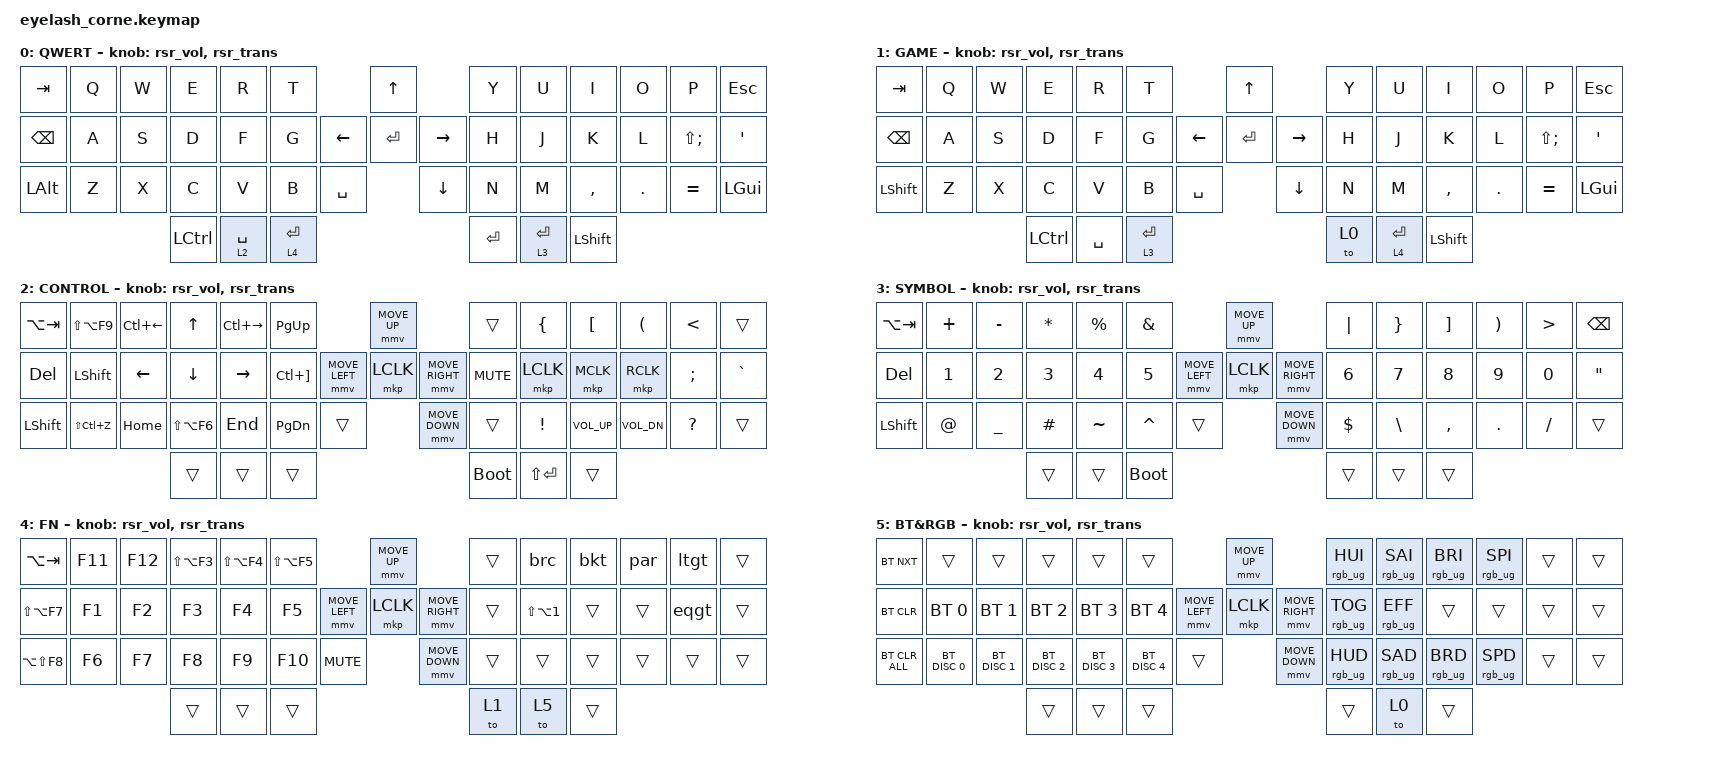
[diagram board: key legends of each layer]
#define ZMK_POINTING_DEFAULT_MOVE_VAL 1200  // 600
#define ZMK_POINTING_DEFAULT_SCRL_VAL 25   // 10

#include <input/processors.dtsi>
#include <zephyr/dt-bindings/input/input-event-codes.h>
#include <behaviors.dtsi>
#include <behaviors/runtime-sensor-rotate.dtsi>
#include <dt-bindings/zmk/bt.h>
#include <dt-bindings/zmk/keys.h>
#include <dt-bindings/zmk/outputs.h>
#include <dt-bindings/zmk/pointing.h>
#include <dt-bindings/zmk/rgb.h>

&soft_off { hold-time-ms = <2000>; };

/ {
    behaviors {
        td0: td0 {
            compatible = "zmk,behavior-tap-dance";
            display-name = "Shift/Caps Lock Tap Dance";
            #binding-cells = <0>;
            bindings = <&kp LEFT_SHIFT>, <&kp CAPS>;
        };

        rsr_vol: rsr_vol {
            compatible = "zmk,behavior-runtime-sensor-rotate";
            #sensor-binding-cells = <0>;
            tap-ms = <5>;
            cw-binding = <&kp C_VOL_UP>;
            ccw-binding = <&kp C_VOL_DN>;
        };

        rsr_trans: rsr_trans {
            compatible = "zmk,behavior-runtime-sensor-rotate";
            #sensor-binding-cells = <0>;
            tap-ms = <0>;
        };
    };

    macros {
        brc: brc {
            compatible = "zmk,behavior-macro";
            #binding-cells = <0>;
            bindings = <&kp LBRC &kp RBRC &kp LEFT>;
            label = "BRC";
        };

        bkt: bkt {
            compatible = "zmk,behavior-macro";
            #binding-cells = <0>;
            bindings = <&kp LBKT &kp RBKT &kp LEFT>;
            label = "BKT";
        };

        par: par {
            compatible = "zmk,behavior-macro";
            #binding-cells = <0>;
            bindings = <&kp LPAR &kp RPAR &kp LEFT>;
            label = "PAR";
        };

        ltgt: ltgt {
            compatible = "zmk,behavior-macro";
            #binding-cells = <0>;
            bindings = <&kp LT &kp GT &kp LEFT>;
            label = "LTGT";
        };

        eqgt: eqgt {
            compatible = "zmk,behavior-macro";
            #binding-cells = <0>;
            bindings = <&kp EQUAL &kp GT &kp LEFT>;
            label = "EQGT";
        };
    };

    keymap {
        compatible = "zmk,keymap";

        default_layer {
            display-name = "QWERT";
            bindings = <
&kp TAB   &kp Q  &kp W  &kp E      &kp R        &kp T                               &kp UP                &kp Y      &kp U        &kp I       &kp O    &kp P         &kp ESC
&kp BSPC  &kp A  &kp S  &kp D      &kp F        &kp G                     &kp LEFT  &kp ENTER  &kp RIGHT  &kp H      &kp J        &kp K       &kp L    &kp LS(SEMI)  &kp SQT
&kp LALT  &kp Z  &kp X  &kp C      &kp V        &kp B        &kp SPACE              &kp DOWN              &kp N      &kp M        &kp COMMA   &kp DOT  &kp EQUAL     &kp LGUI
                        &kp LCTRL  &lt 2 SPACE  &lt 4 ENTER                                               &kp ENTER  &lt 3 ENTER  &kp LSHIFT
            >;

            sensor-bindings = <&rsr_vol &rsr_trans>;
        };

        game {
            display-name = "GAME";
            bindings = <
&kp TAB    &kp Q  &kp W  &kp E      &kp R      &kp T                               &kp UP                &kp Y  &kp U        &kp I       &kp O    &kp P         &kp ESC
&kp BSPC   &kp A  &kp S  &kp D      &kp F      &kp G                     &kp LEFT  &kp ENTER  &kp RIGHT  &kp H  &kp J        &kp K       &kp L    &kp LS(SEMI)  &kp SQT
&kp LSHFT  &kp Z  &kp X  &kp C      &kp V      &kp B        &kp SPACE              &kp DOWN              &kp N  &kp M        &kp COMMA   &kp DOT  &kp EQUAL     &kp LGUI
                         &kp LCTRL  &kp SPACE  &lt 3 ENTER                                               &to 0  &lt 4 ENTER  &kp LSHIFT
            >;

            sensor-bindings = <&rsr_vol &rsr_trans>;
        };

        control {
            bindings = <
&kp LA(TAB)     &kp LS(LA(F9))  &kp LC(LEFT)  &kp UP_ARROW    &kp LC(RIGHT)  &kp PAGE_UP                              &mmv MOVE_UP                     &trans       &kp LBRC         &kp LEFT_BRACKET  &kp LEFT_PARENTHESIS  &kp LESS_THAN  &trans
&kp DEL         &kp LEFT_SHIFT  &kp LEFT      &kp DOWN        &kp RIGHT      &kp LC(RBKT)             &mmv MOVE_LEFT  &mkp LCLK       &mmv MOVE_RIGHT  &kp C_MUTE   &mkp LCLK        &mkp MCLK         &mkp RCLK             &kp SEMICOLON  &kp GRAVE
&kp LEFT_SHIFT  &kp LS(LC(Z))   &kp HOME      &kp LS(LA(F6))  &kp END        &kp PAGE_DOWN  &trans                    &mmv MOVE_DOWN                   &trans       &kp EXCLAMATION  &kp C_VOL_UP      &kp C_VOL_DN          &kp QUESTION   &trans
                                              &trans          &trans         &trans                                                                    &bootloader  &kp LS(ENTER)    &trans
            >;

            sensor-bindings = <&rsr_vol &rsr_trans>;
            label = "CONTROL";
        };

        symbol {
            display-name = "SYMBOL";
            bindings = <
&kp LA(TAB)  &kp PLUS      &kp MINUS       &kp ASTERISK  &kp PRCNT     &kp AMPS                               &mmv MOVE_UP                     &kp PIPE      &kp RIGHT_BRACE  &kp RIGHT_BRACKET  &kp RIGHT_PARENTHESIS  &kp GREATER_THAN  &kp BSPC
&kp DEL      &kp NUMBER_1  &kp NUMBER_2    &kp NUMBER_3  &kp NUMBER_4  &kp N5                 &mmv MOVE_LEFT  &mkp LCLK       &mmv MOVE_RIGHT  &kp NUMBER_6  &kp N7           &kp N8             &kp N9                 &kp N0            &kp DOUBLE_QUOTES
&kp LSHIFT   &kp AT_SIGN   &kp UNDERSCORE  &kp HASH      &kp TILDE     &kp CARET    &trans                    &mmv MOVE_DOWN                   &kp DOLLAR    &kp BACKSLASH    &kp COMMA          &kp PERIOD             &kp SLASH         &trans
                                           &trans        &trans        &bootloader                                                             &trans        &trans           &trans
            >;

            sensor-bindings = <&rsr_vol &rsr_trans>;
        };

        fn {
            display-name = "FN";
            bindings = <
&kp LA(TAB)     &kp F11  &kp F12  &kp LS(LA(F3))  &kp LS(LA(F4))  &kp LS(LA(F5))                                &mmv MOVE_UP                     &trans  &brc                  &bkt    &par    &ltgt   &trans
&kp LS(LA(F7))  &kp F1   &kp F2   &kp F3          &kp F4          &kp F5                        &mmv MOVE_LEFT  &mkp LCLK       &mmv MOVE_RIGHT  &trans  &kp LS(LA(NUMBER_1))  &trans  &trans  &eqgt   &trans
&kp LA(LS(F8))  &kp F6   &kp F7   &kp F8          &kp F9          &kp F10         &kp C_MUTE                    &mmv MOVE_DOWN                   &trans  &trans                &trans  &trans  &trans  &trans
                                  &trans          &trans          &trans                                                                         &to 1   &to 5                 &trans
            >;

            sensor-bindings = <&rsr_vol &rsr_trans>;
        };

        bt {
            display-name = "BT&RGB";
            bindings = <
&bt BT_NXT      &trans         &trans         &trans         &trans         &trans                                   &mmv MOVE_UP                     &rgb_ug RGB_HUI  &rgb_ug RGB_SAI  &rgb_ug RGB_BRI  &rgb_ug RGB_SPI  &trans  &trans
&bt BT_CLR      &bt BT_SEL 0   &bt BT_SEL 1   &bt BT_SEL 2   &bt BT_SEL 3   &bt BT_SEL 4             &mmv MOVE_LEFT  &mkp LCLK       &mmv MOVE_RIGHT  &rgb_ug RGB_TOG  &rgb_ug RGB_EFF  &trans           &trans           &trans  &trans
&bt BT_CLR_ALL  &bt BT_DISC 0  &bt BT_DISC 1  &bt BT_DISC 2  &bt BT_DISC 3  &bt BT_DISC 4  &trans                    &mmv MOVE_DOWN                   &rgb_ug RGB_HUD  &rgb_ug RGB_SAD  &rgb_ug RGB_BRD  &rgb_ug RGB_SPD  &trans  &trans
                                              &trans         &trans         &trans                                                                    &trans           &to 0            &trans
            >;

            sensor-bindings = <&rsr_vol &rsr_trans>;
        };
    };
};
